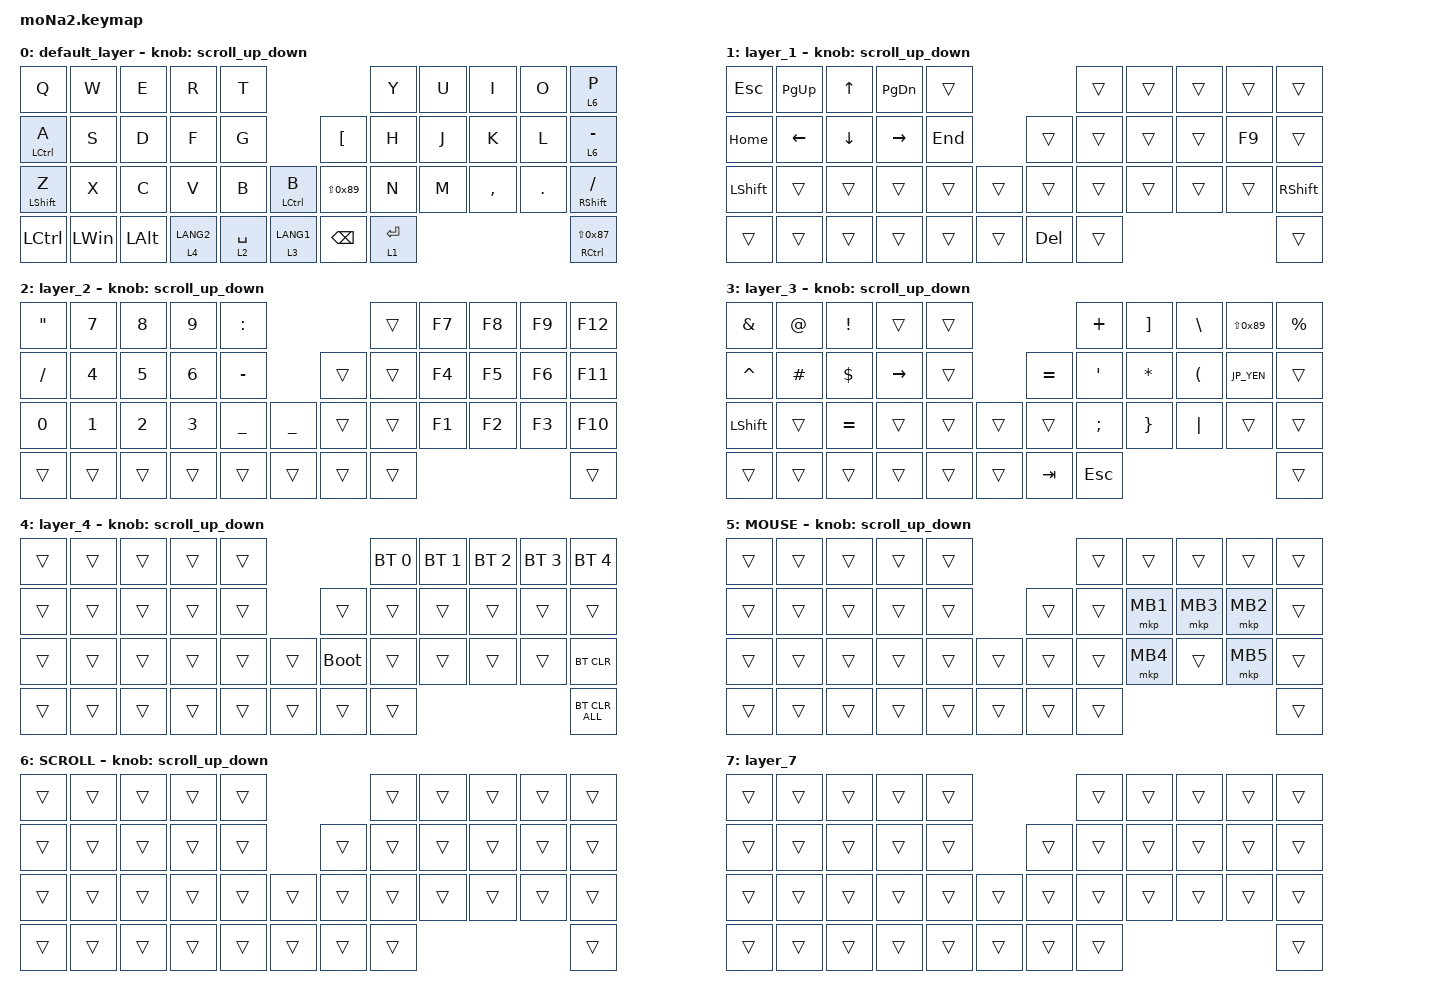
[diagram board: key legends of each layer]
#include <behaviors.dtsi>
#include <dt-bindings/zmk/bt.h>
#include <dt-bindings/zmk/keys.h>
#include <dt-bindings/zmk/pointing.h>

#define ZMK_POINTING_DEFAULT_SCRL_VAL 100
#define MOUSE 5
#define SCROLL 6

// OS設定を日本語キーボードのまま使用するための変換定義

#define JP_DQUOTE       AT                // "
#define JP_AMPERSAND    CARET             // &
#define JP_QUOTE        AMPERSAND         // '
#define JP_EQUAL        UNDER             // =
#define JP_CARET        EQUAL             // ^
#define JP_YEN          0x89              // ¥
#define JP_PLUS         COLON             // +
#define JP_TILDE        PLUS              // ~
#define JP_PIPE         LS(0x89)          // |
#define JP_AT           LEFT_BRACKET      // @
#define JP_COLON        SINGLE_QUOTE      // :
#define JP_ASTERISK     DOUBLE_QUOTES     // *
#define JP_BACKQUOTE    LEFT_BRACE        // `
#define JP_UNDERSCORE   LS(0x87)          // _
#define JP_LBRACKET     RIGHT_BRACKET     // [
#define JP_RBRACKET     BACKSLASH         // ]
#define JP_LPAREN       ASTERISK          // (
#define JP_RPAREN       LEFT_PARENTHESIS  // )
#define JP_LBRACE       RIGHT_BRACE       // {
#define JP_RBRACE       PIPE              // }

//#define JP_KANA         LANGUAGE_1        // かな
//#define JP_EISU         LANGUAGE_2        // 英数

#define JP_HANZEN       GRAVE             // 半角/全角

&mt {
    flavor = "balanced";
    quick-tap-ms = <0>;
    require-prior-idle-ms = <150>;
};

/ {
    combos {
        compatible = "zmk,combos";

        h {
            bindings = <&none>;
            key-positions = <17 18 19 29 31>;
        };
    };

    macros {
        to_layer_0: to_layer_0 {
            compatible = "zmk,behavior-macro-one-param";
            #binding-cells = <1>;
            bindings = <&to 0 &macro_param_1to1 &kp MACRO_PLACEHOLDER>;
            label = "TO_LAYER_0";
        };
    };

    behaviors {
        lt_to_layer_0: lt_to_layer_0 {
            compatible = "zmk,behavior-hold-tap";
            label = "LAYER_TAP_TO_0";
            bindings = <&mo>, <&to_layer_0>;

            #binding-cells = <2>;
            tapping-term-ms = <300>;
        };

        scroll_up_down: behavior_sensor_rotate_mouse_wheel_up_down {
            compatible = "zmk,behavior-sensor-rotate";
            #sensor-binding-cells = <0>;
            bindings = <&msc SCRL_UP>, <&msc SCRL_DOWN>;

            tap-ms = <20>;
        };
    };

    keymap {
        compatible = "zmk,keymap";

        default_layer {
            bindings = <
&kp Q               &kp W         &kp E         &kp R        &kp T                                      &kp Y        &kp U  &kp I      &kp O    &lt 6 P
&mt LEFT_CONTROL A  &kp S         &kp D         &kp F        &kp G                       &kp JP_AT      &kp H        &kp J  &kp K      &kp L    &lt 6 MINUS
&mt LEFT_SHIFT Z    &kp X         &kp C         &kp V        &kp B        &mt LCTRL B    &kp JP_PIPE    &kp N        &kp M  &kp COMMA  &kp DOT  &mt RIGHT_SHIFT SLASH
&kp LCTRL           &kp LEFT_WIN  &kp LEFT_ALT  &lt 4 LANG2  &lt 2 SPACE  &lt 3 LANG1    &kp BACKSPACE  &lt 1 ENTER                             &mt RCTRL JP_UNDERSCORE
            >;

            sensor-bindings = <&scroll_up_down>;
        };

        layer_1 {
            bindings = <
&kp ESCAPE      &kp PAGE_UP     &kp UP_ARROW    &kp PAGE_DOWN    &trans                         &trans  &trans  &trans  &trans  &trans
&kp HOME        &kp LEFT_ARROW  &kp DOWN_ARROW  &kp RIGHT_ARROW  &kp END            &trans      &trans  &trans  &trans  &kp F9  &trans
&kp LEFT_SHIFT  &trans          &trans          &trans           &trans   &trans    &trans      &trans  &trans  &trans  &trans  &kp RSHFT
&trans          &trans          &trans          &trans           &trans   &trans    &kp DELETE  &trans                          &trans
            >;

            sensor-bindings = <&scroll_up_down>;
        };

        layer_2 {
            bindings = <
&kp JP_ASTERISK  &kp NUMBER_7  &kp NUMBER_8  &kp NUMBER_9  &kp JP_PLUS                           &trans  &kp F7  &kp F8  &kp F9  &kp F12
&kp SLASH        &kp NUMBER_4  &kp NUMBER_5  &kp NUMBER_6  &kp MINUS                     &trans  &trans  &kp F4  &kp F5  &kp F6  &kp F11
&kp N0           &kp NUMBER_1  &kp NUMBER_2  &kp NUMBER_3  &kp JP_EQUAL  &kp JP_EQUAL    &trans  &trans  &kp F1  &kp F2  &kp F3  &kp F10
&trans           &trans        &trans        &trans        &trans        &trans          &trans  &trans                          &trans
            >;

            sensor-bindings = <&scroll_up_down>;
        };

        layer_3 {
            bindings = <
&kp JP_QUOTE      &kp JP_DQUOTE  &kp EXCL      &trans           &trans                          &kp JP_TILDE   &kp JP_LBRACKET  &kp JP_RBRACKET  &kp JP_PIPE  &kp PERCENT
&kp JP_AMPERSAND  &kp HASH       &kp DOLLAR    &kp RIGHT_ARROW  &trans            &kp JP_CARET  &kp JP_COLON   &kp JP_LPAREN    &kp JP_RPAREN    &kp JP_YEN   &trans
&kp LEFT_SHIFT    &trans         &kp JP_CARET  &trans           &trans  &trans    &trans        &kp SEMICOLON  &kp JP_LBRACE    &kp JP_RBRACE    &trans       &trans
&trans            &trans         &trans        &trans           &trans  &trans    &kp TAB       &kp ESCAPE                                                    &trans
            >;

            sensor-bindings = <&scroll_up_down>;
        };

        layer_4 {
            bindings = <
&trans  &trans  &trans  &trans  &trans                         &bt BT_SEL 0  &bt BT_SEL 1  &bt BT_SEL 2  &bt BT_SEL 3  &bt BT_SEL 4
&trans  &trans  &trans  &trans  &trans            &trans       &trans        &trans        &trans        &trans        &trans
&trans  &trans  &trans  &trans  &trans  &trans    &bootloader  &trans        &trans        &trans        &trans        &bt BT_CLR
&trans  &trans  &trans  &trans  &trans  &trans    &trans       &trans                                                  &bt BT_CLR_ALL
            >;

            sensor-bindings = <&scroll_up_down>;
        };

        MOUSE {
            bindings = <
&trans  &trans  &trans  &trans  &trans                    &trans  &trans    &trans    &trans    &trans
&trans  &trans  &trans  &trans  &trans            &trans  &trans  &mkp MB1  &mkp MB3  &mkp MB2  &trans
&trans  &trans  &trans  &trans  &trans  &trans    &trans  &trans  &mkp MB4  &trans    &mkp MB5  &trans
&trans  &trans  &trans  &trans  &trans  &trans    &trans  &trans                                &trans
            >;

            sensor-bindings = <&scroll_up_down>;
        };

        SCROLL {
            bindings = <
&trans  &trans  &trans  &trans  &trans                    &trans  &trans  &trans  &trans  &trans
&trans  &trans  &trans  &trans  &trans            &trans  &trans  &trans  &trans  &trans  &trans
&trans  &trans  &trans  &trans  &trans  &trans    &trans  &trans  &trans  &trans  &trans  &trans
&trans  &trans  &trans  &trans  &trans  &trans    &trans  &trans                          &trans
            >;

            sensor-bindings = <&scroll_up_down>;
        };

        layer_7 {
            bindings = <
&trans  &trans  &trans  &trans  &trans                    &trans  &trans  &trans  &trans  &trans
&trans  &trans  &trans  &trans  &trans            &trans  &trans  &trans  &trans  &trans  &trans
&trans  &trans  &trans  &trans  &trans  &trans    &trans  &trans  &trans  &trans  &trans  &trans
&trans  &trans  &trans  &trans  &trans  &trans    &trans  &trans                          &trans
            >;
        };
    };
};
